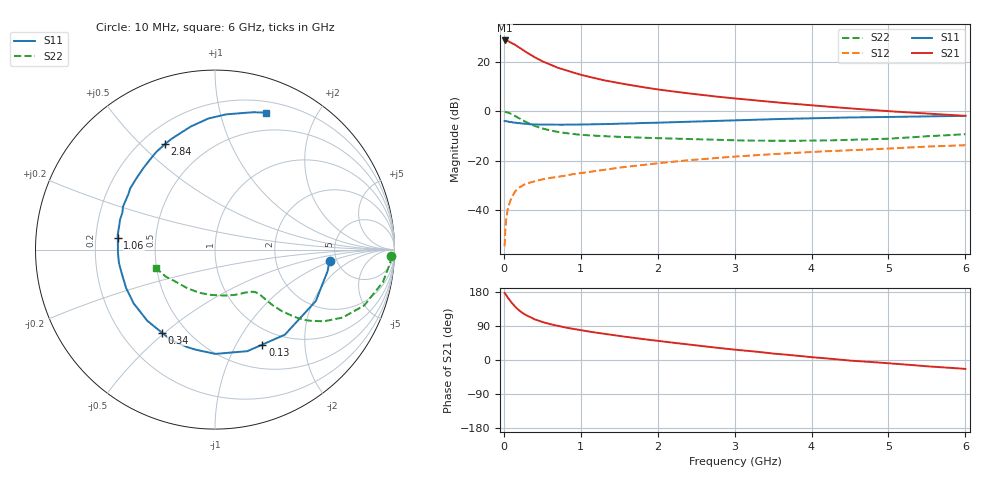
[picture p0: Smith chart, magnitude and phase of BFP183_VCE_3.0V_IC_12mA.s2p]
! Infineon Technologies  Discrete & RF Semiconductors
! BFP183
! VCE = 3.0 V,  IC =  12 mA
! Common Emitter S-Parameters:  Jan 2016
# GHz  S  MA  R  50
!  f  S11  S21  S12  S22
! GHz  MAG  ANG  MAG  ANG  MAG  ANG  MAG  ANG
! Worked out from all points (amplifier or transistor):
!   210 points, 10 MHz to 6 GHz, reference 50 ohm
!   highest |S21| = 28.9 dB at 10 MHz (marker M1)
!   |S21| within 3 dB of that: start of sweep to 206.4 MHz
!   unconditionally stable (mu >= 1): 1.046 GHz to 5.494 GHz
!   at 185 MHz: K = 0.28, MSG = 28.9 dB, |S12| = -31.4 dB
!   at 1.52 GHz: K = 1.11, MAG = 15.1 dB, |S12| = -22.8 dB
!   at 6 GHz: K = 0.95, MSG = 6.0 dB, |S12| = -13.8 dB
!   S11 on the Smith chart (normalised r, x): 10 MHz: 4.38, -0.92; 130 MHz: 0.79, -1.29; 340 MHz: 0.37, -0.49; 1.06 GHz: 0.30, +0.06; 2.84 GHz: 0.29, +0.59; 6 GHz: 0.31, +1.40
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0.01  0.6416 -5.5  28 176.9  0.0018 89.3  0.9815 -2.1
0.05  0.6307 -27.0  27.47 164.9  0.01 80.2  0.9533 -10.9
0.1  0.6134 -50.6  25.08 151.5  0.0175 66.5  0.8878 -20.5
0.13  0.5914 -63.5  23.51 144.8  0.0212 62.4  0.8371 -24.8
0.15  0.594 -72.3  22.66 139.8  0.0237 60.4  0.8062 -28.0
0.2  0.581 -89.8  20.16 130.5  0.0282 54.9  0.7257 -33.4
0.24  0.568 -100.9  18.19 124.7  0.0309 51.5  0.6695 -36.4
0.3  0.5609 -115.6  15.85 117.2  0.0342 48.0  0.5965 -39.7
0.34  0.549 -122.6  14.57 113.7  0.0356 46.6  0.5611 -40.8
0.4  0.5474 -133.5  12.79 107.3  0.0378 44.8  0.5083 -42.6
0.5  0.5433 -146.5  10.55 100.3  0.0413 43.1  0.45 -43.9
0.6  0.5396 -156.5  9.061 94.7  0.0442 43.5  0.4112 -44.4
0.8  0.5403 -172.2  6.943 85.6  0.0492 44.0  0.363 -44.9
1.02  0.5431 175.0  5.496 77.9  0.056 45.4  0.3334 -46.0
1.06  0.5454 173.1  5.307 76.5  0.0571 45.4  0.3299 -46.3
1.5  0.5658 155.0  3.775 63.3  0.0718 46.0  0.3044 -50.7
2.02  0.5923 137.1  2.785 50.0  0.0887 45.1  0.2862 -58.9
2.84  0.65 115.3  1.956 30.8  0.1152 40.5  0.2632 -76.9
3.1  0.6681 109.4  1.783 25.5  0.1232 38.7  0.2567 -83.7
4.1  0.7348 91.4  1.297 5.9  0.1523 31.2  0.256 -113.2
5.1  0.7768 78.4  0.991 -10.1  0.1786 24.5  0.2846 -141.6
6  0.8149 69.4  0.815 -23.5  0.2053 16.6  0.3446 -162.5
